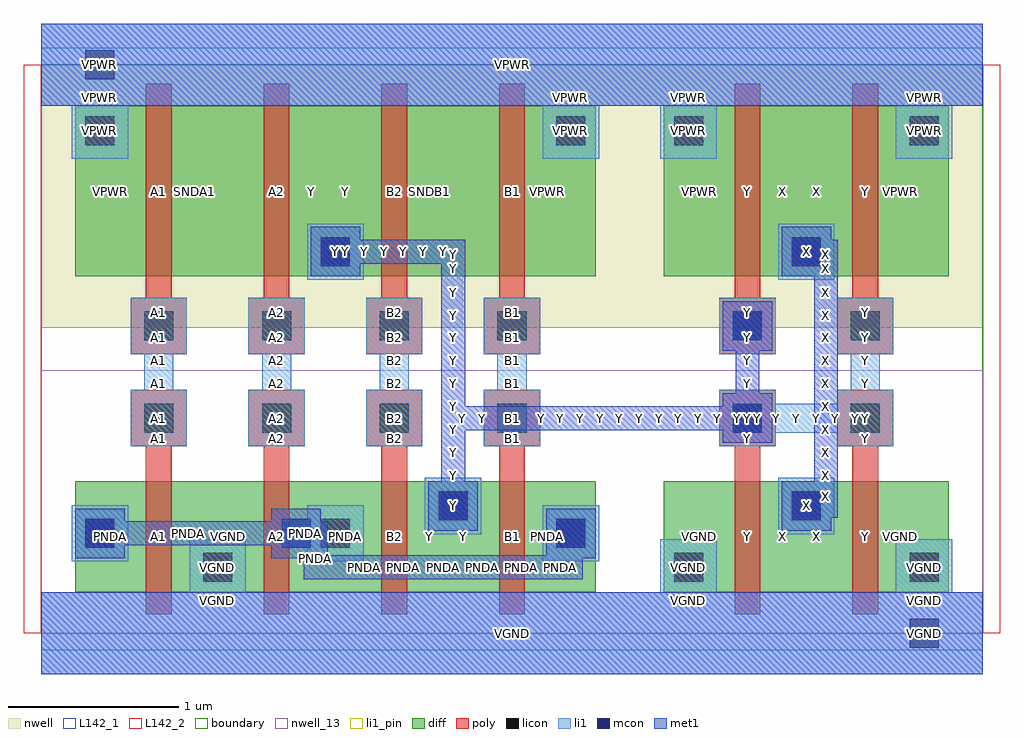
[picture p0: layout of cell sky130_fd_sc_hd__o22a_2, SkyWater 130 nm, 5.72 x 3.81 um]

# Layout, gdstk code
import gdstk
lib = gdstk.Library(unit=1e-6, precision=1e-09)
def R(c, l, rs):  # rectangles x0, y0, x1, y1
    for r in rs: c.add(gdstk.rectangle(r[:2], r[2:], *l))
def A(c, l, x, y, w, h, nx, ny, dx, dy):  # array of equal rectangles
    R(c, l, [(x+i*dx, y+j*dy, x+i*dx+w, y+j*dy+h) for i in range(nx) for j in range(ny)])
def P(c, l, *ps):  # polygons
    for p in ps: c.add(gdstk.Polygon(p, *l))
nwell_13 = (64, 13)
nwell = (64, 20)
diff = (65, 20)
poly = (66, 20)
licon = (66, 44)
li1_pin = (67, 16)
li1 = (67, 20)
mcon = (67, 44)
met1 = (68, 20)
L142_1 = (142, 1)
L142_2 = (142, 2)
boundary = (235, 4)

sky130_fd_sc_hd__o22a_2 = lib.new_cell('sky130_fd_sc_hd__o22a_2')
R(sky130_fd_sc_hd__o22a_2, nwell_13, [(0,0,5.52,1.54)])
R(sky130_fd_sc_hd__o22a_2, nwell, [(0,1.79,5.52,3.33)])
A(sky130_fd_sc_hd__o22a_2, diff, 0.615, 0.24, 0.69, 0.65, 3, 1, 0.69, 0)
A(sky130_fd_sc_hd__o22a_2, diff, 0.615, 2.09, 0.69, 1, 3, 1, 0.69, 0)
R(sky130_fd_sc_hd__o22a_2, diff, [(0.2,0.24,3.25,0.89), (0.2,0.24,0.615,0.89), (2.685,0.24,3.25,0.89), (3.65,0.24,5.32,0.89), (3.65,0.24,4.065,0.89), (4.065,0.24,4.755,0.89), (4.755,0.24,5.32,0.89), (0.2,2.09,3.25,3.09), (0.2,2.09,0.615,3.09), (2.685,2.09,3.25,3.09), (3.65,2.09,5.32,3.09), (3.65,2.09,4.065,3.09), (4.065,2.09,4.755,3.09), (4.755,2.09,5.32,3.09)])
P(sky130_fd_sc_hd__o22a_2, poly, [(1.995,0.11),(1.995,1.095),(1.905,1.095),(1.905,1.425),(2.235,1.425),(2.235,1.095),(2.145,1.095),(2.145,0.11)],
  [(1.905,1.635),(1.905,1.965),(1.995,1.965),(1.995,3.22),(2.145,3.22),(2.145,1.965),(2.235,1.965),(2.235,1.635)],
  [(4.065,0.11),(4.065,1.095),(3.975,1.095),(3.975,1.425),(4.305,1.425),(4.305,1.095),(4.215,1.095),(4.215,0.11)],
  [(4.755,0.11),(4.755,1.095),(4.665,1.095),(4.665,1.425),(4.995,1.425),(4.995,1.095),(4.905,1.095),(4.905,0.11)],
  [(3.975,1.635),(3.975,1.965),(4.065,1.965),(4.065,3.22),(4.215,3.22),(4.215,1.965),(4.305,1.965),(4.305,1.635)],
  [(4.665,1.635),(4.665,1.965),(4.755,1.965),(4.755,3.22),(4.905,3.22),(4.905,1.965),(4.995,1.965),(4.995,1.635)],
  [(1.305,0.11),(1.305,1.095),(1.215,1.095),(1.215,1.425),(1.545,1.425),(1.545,1.095),(1.455,1.095),(1.455,0.11)],
  [(1.215,1.635),(1.215,1.965),(1.305,1.965),(1.305,3.22),(1.455,3.22),(1.455,1.965),(1.545,1.965),(1.545,1.635)],
  [(0.615,0.11),(0.615,1.095),(0.525,1.095),(0.525,1.425),(0.855,1.425),(0.855,1.095),(0.765,1.095),(0.765,0.11)],
  [(0.525,1.635),(0.525,1.965),(0.615,1.965),(0.615,3.22),(0.765,3.22),(0.765,1.965),(0.855,1.965),(0.855,1.635)],
  [(2.685,0.11),(2.685,1.095),(2.595,1.095),(2.595,1.425),(2.925,1.425),(2.925,1.095),(2.835,1.095),(2.835,0.11)],
  [(2.595,1.635),(2.595,1.965),(2.685,1.965),(2.685,3.22),(2.835,3.22),(2.835,1.965),(2.925,1.965),(2.925,1.635)])
A(sky130_fd_sc_hd__o22a_2, licon, 0.26, 0.5, 0.17, 0.17, 3, 1, 1.38, 0)
A(sky130_fd_sc_hd__o22a_2, licon, 0.605, 1.175, 0.17, 0.17, 4, 2, 0.69, 0.54)
R(sky130_fd_sc_hd__o22a_2, licon, [(0.95,0.3,1.12,0.47), (3.71,0.3,3.88,0.47), (5.09,0.3,5.26,0.47), (2.33,0.66,2.5,0.83), (4.4,0.66,4.57,0.83), (4.055,1.175,4.225,1.345), (4.745,1.175,4.915,1.345), (4.055,1.715,4.225,1.885), (4.745,1.715,4.915,1.885), (1.64,2.15,1.81,2.32), (4.4,2.15,4.57,2.32), (0.26,2.86,0.43,3.03), (3.02,2.86,3.19,3.03), (3.71,2.86,3.88,3.03), (5.09,2.86,5.26,3.03)])
R(sky130_fd_sc_hd__o22a_2, li1_pin, [(0,-0.24,5.52,0.24), (4.32,0.58,4.65,0.91), (0,3.09,5.52,3.57)])
P(sky130_fd_sc_hd__o22a_2, li1_pin, [(1.905,1.095),(1.905,1.425),(1.985,1.425),(1.985,1.635),(1.905,1.635),(1.905,1.965),(2.235,1.965),(2.235,1.635),(2.155,1.635),(2.155,1.425),(2.235,1.425),(2.235,1.095)],
  [(1.215,1.095),(1.215,1.425),(1.295,1.425),(1.295,1.635),(1.215,1.635),(1.215,1.965),(1.545,1.965),(1.545,1.635),(1.465,1.635),(1.465,1.425),(1.545,1.425),(1.545,1.095)],
  [(0.525,1.095),(0.525,1.425),(0.605,1.425),(0.605,1.635),(0.525,1.635),(0.525,1.965),(0.855,1.965),(0.855,1.635),(0.775,1.635),(0.775,1.425),(0.855,1.425),(0.855,1.095)],
  [(2.595,1.095),(2.595,1.425),(2.675,1.425),(2.675,1.635),(2.595,1.635),(2.595,1.965),(2.925,1.965),(2.925,1.635),(2.845,1.635),(2.845,1.425),(2.925,1.425),(2.925,1.095)])
R(sky130_fd_sc_hd__o22a_2, li1, [(0.18,0.42,0.51,0.75), (2.94,0.42,3.27,0.75), (2.25,0.58,2.58,0.91), (4.32,0.58,4.65,0.91), (3.975,1.635,4.305,1.965), (1.56,2.07,1.89,2.4), (4.32,2.07,4.65,2.4)])
P(sky130_fd_sc_hd__o22a_2, li1, [(1.905,1.095),(1.905,1.425),(1.985,1.425),(1.985,1.635),(1.905,1.635),(1.905,1.965),(2.235,1.965),(2.235,1.635),(2.155,1.635),(2.155,1.425),(2.235,1.425),(2.235,1.095)],
  [(3.975,1.095),(3.975,1.425),(4.305,1.425),(4.305,1.345),(4.665,1.345),(4.665,1.425),(4.745,1.425),(4.745,1.635),(4.665,1.635),(4.665,1.965),(4.995,1.965),(4.995,1.635),(4.915,1.635),(4.915,1.425),(4.995,1.425),(4.995,1.095),(4.665,1.095),(4.665,1.175),(4.305,1.175),(4.305,1.095)],
  [(1.215,1.095),(1.215,1.425),(1.295,1.425),(1.295,1.635),(1.215,1.635),(1.215,1.965),(1.545,1.965),(1.545,1.635),(1.465,1.635),(1.465,1.425),(1.545,1.425),(1.545,1.095)],
  [(0.18,2.78),(0.18,3.09),(0,3.09),(0,3.57),(5.52,3.57),(5.52,3.09),(5.34,3.09),(5.34,2.78),(5.01,2.78),(5.01,3.09),(3.96,3.09),(3.96,2.78),(3.63,2.78),(3.63,3.09),(3.27,3.09),(3.27,2.78),(2.94,2.78),(2.94,3.09),(0.51,3.09),(0.51,2.78)],
  [(0.525,1.095),(0.525,1.425),(0.605,1.425),(0.605,1.635),(0.525,1.635),(0.525,1.965),(0.855,1.965),(0.855,1.635),(0.775,1.635),(0.775,1.425),(0.855,1.425),(0.855,1.095)],
  [(1.56,0.42),(1.56,0.5),(1.41,0.5),(1.41,0.67),(1.56,0.67),(1.56,0.75),(1.89,0.75),(1.89,0.42)],
  [(0,-0.24),(0,0.24),(0.87,0.24),(0.87,0.55),(1.2,0.55),(1.2,0.24),(3.63,0.24),(3.63,0.55),(3.96,0.55),(3.96,0.24),(5.01,0.24),(5.01,0.55),(5.34,0.55),(5.34,0.24),(5.52,0.24),(5.52,-0.24)],
  [(2.595,1.095),(2.595,1.425),(2.675,1.425),(2.675,1.635),(2.595,1.635),(2.595,1.965),(2.925,1.965),(2.925,1.635),(2.845,1.635),(2.845,1.425),(2.925,1.425),(2.925,1.095)])
R(sky130_fd_sc_hd__o22a_2, mcon, [(5.09,-0.085,5.26,0.085), (0.26,0.5,0.43,0.67), (1.41,0.5,1.58,0.67), (3.02,0.5,3.19,0.67), (2.33,0.66,2.5,0.83), (4.4,0.66,4.57,0.83), (4.055,1.175,4.225,1.345), (4.055,1.715,4.225,1.885), (1.64,2.15,1.81,2.32), (4.4,2.15,4.57,2.32), (0.26,3.245,0.43,3.415)])
R(sky130_fd_sc_hd__o22a_2, met1, [(0,-0.24,5.52,0.24), (0,3.09,5.52,3.57)])
P(sky130_fd_sc_hd__o22a_2, met1, [(2.27,0.6),(2.27,0.89),(2.345,0.89),(2.345,2.165),(1.87,2.165),(1.87,2.09),(1.58,2.09),(1.58,2.38),(1.87,2.38),(1.87,2.305),(2.485,2.305),(2.485,1.33),(3.995,1.33),(3.995,1.405),(4.07,1.405),(4.07,1.655),(3.995,1.655),(3.995,1.945),(4.285,1.945),(4.285,1.655),(4.21,1.655),(4.21,1.405),(4.285,1.405),(4.285,1.115),(3.995,1.115),(3.995,1.19),(2.485,1.19),(2.485,0.89),(2.56,0.89),(2.56,0.6)],
  [(1.54,0.315),(1.54,0.44),(1.35,0.44),(1.35,0.515),(0.49,0.515),(0.49,0.44),(0.2,0.44),(0.2,0.73),(0.49,0.73),(0.49,0.655),(1.35,0.655),(1.35,0.73),(1.64,0.73),(1.64,0.655),(1.68,0.655),(1.68,0.455),(2.96,0.455),(2.96,0.73),(3.25,0.73),(3.25,0.44),(3.175,0.44),(3.175,0.315)],
  [(4.34,0.6),(4.34,0.89),(4.53,0.89),(4.53,2.09),(4.34,2.09),(4.34,2.38),(4.63,2.38),(4.63,2.305),(4.67,2.305),(4.67,0.675),(4.63,0.675),(4.63,0.6)])
R(sky130_fd_sc_hd__o22a_2, L142_1, [(0,-0.1,5.52,0), (0,3.33,5.52,3.43)])
R(sky130_fd_sc_hd__o22a_2, L142_2, [(-0.1,0,0,3.33), (5.52,0,5.62,3.33)])
R(sky130_fd_sc_hd__o22a_2, boundary, [(0,0,5.52,3.33)])
sky130_fd_sc_hd__o22a_2.add(gdstk.Label('X', (4.547,0.565), layer=65, texttype=20))
sky130_fd_sc_hd__o22a_2.add(gdstk.Label('VGND', (5.037,0.565), layer=65, texttype=20))
sky130_fd_sc_hd__o22a_2.add(gdstk.Label('PNDA', (1.787,0.565), layer=65, texttype=20))
sky130_fd_sc_hd__o22a_2.add(gdstk.Label('Y', (2.277,0.565), layer=65, texttype=20))
sky130_fd_sc_hd__o22a_2.add(gdstk.Label('VGND', (1.097,0.565), layer=65, texttype=20))
sky130_fd_sc_hd__o22a_2.add(gdstk.Label('PNDA', (1.587,0.565), layer=65, texttype=20))
sky130_fd_sc_hd__o22a_2.add(gdstk.Label('VGND', (3.857,0.565), layer=65, texttype=20))
sky130_fd_sc_hd__o22a_2.add(gdstk.Label('X', (4.347,0.565), layer=65, texttype=20))
sky130_fd_sc_hd__o22a_2.add(gdstk.Label('PNDA', (0.407,0.565), layer=65, texttype=20))
sky130_fd_sc_hd__o22a_2.add(gdstk.Label('VGND', (0.897,0.565), layer=65, texttype=20))
sky130_fd_sc_hd__o22a_2.add(gdstk.Label('Y', (2.477,0.565), layer=65, texttype=20))
sky130_fd_sc_hd__o22a_2.add(gdstk.Label('PNDA', (2.967,0.565), layer=65, texttype=20))
sky130_fd_sc_hd__o22a_2.add(gdstk.Label('X', (4.547,0.565), layer=65, texttype=20))
sky130_fd_sc_hd__o22a_2.add(gdstk.Label('VGND', (5.037,0.565), layer=65, texttype=20))
sky130_fd_sc_hd__o22a_2.add(gdstk.Label('PNDA', (1.787,0.565), layer=65, texttype=20))
sky130_fd_sc_hd__o22a_2.add(gdstk.Label('Y', (2.277,0.565), layer=65, texttype=20))
sky130_fd_sc_hd__o22a_2.add(gdstk.Label('VGND', (1.097,0.565), layer=65, texttype=20))
sky130_fd_sc_hd__o22a_2.add(gdstk.Label('PNDA', (1.587,0.565), layer=65, texttype=20))
sky130_fd_sc_hd__o22a_2.add(gdstk.Label('VGND', (3.857,0.565), layer=65, texttype=20))
sky130_fd_sc_hd__o22a_2.add(gdstk.Label('X', (4.347,0.565), layer=65, texttype=20))
sky130_fd_sc_hd__o22a_2.add(gdstk.Label('PNDA', (0.407,0.565), layer=65, texttype=20))
sky130_fd_sc_hd__o22a_2.add(gdstk.Label('VGND', (0.897,0.565), layer=65, texttype=20))
sky130_fd_sc_hd__o22a_2.add(gdstk.Label('Y', (2.477,0.565), layer=65, texttype=20))
sky130_fd_sc_hd__o22a_2.add(gdstk.Label('PNDA', (2.967,0.565), layer=65, texttype=20))
sky130_fd_sc_hd__o22a_2.add(gdstk.Label('X', (4.485,0.745), layer=65, texttype=20))
sky130_fd_sc_hd__o22a_2.add(gdstk.Label('VGND', (5.175,0.385), layer=65, texttype=20))
sky130_fd_sc_hd__o22a_2.add(gdstk.Label('VGND', (1.035,0.385), layer=65, texttype=20))
sky130_fd_sc_hd__o22a_2.add(gdstk.Label('VGND', (3.795,0.385), layer=65, texttype=20))
sky130_fd_sc_hd__o22a_2.add(gdstk.Label('PNDA', (1.725,0.585), layer=65, texttype=20))
sky130_fd_sc_hd__o22a_2.add(gdstk.Label('PNDA', (0.345,0.585), layer=65, texttype=20))
sky130_fd_sc_hd__o22a_2.add(gdstk.Label('PNDA', (3.105,0.585), layer=65, texttype=20))
sky130_fd_sc_hd__o22a_2.add(gdstk.Label('Y', (2.415,0.745), layer=65, texttype=20))
sky130_fd_sc_hd__o22a_2.add(gdstk.Label('Y', (1.787,2.59), layer=65, texttype=20))
sky130_fd_sc_hd__o22a_2.add(gdstk.Label('SNDB1', (2.277,2.59), layer=65, texttype=20))
sky130_fd_sc_hd__o22a_2.add(gdstk.Label('VPWR', (0.407,2.59), layer=65, texttype=20))
sky130_fd_sc_hd__o22a_2.add(gdstk.Label('SNDA1', (0.897,2.59), layer=65, texttype=20))
sky130_fd_sc_hd__o22a_2.add(gdstk.Label('X', (4.547,2.59), layer=65, texttype=20))
sky130_fd_sc_hd__o22a_2.add(gdstk.Label('VPWR', (5.037,2.59), layer=65, texttype=20))
sky130_fd_sc_hd__o22a_2.add(gdstk.Label('SNDB1', (2.477,2.59), layer=65, texttype=20))
sky130_fd_sc_hd__o22a_2.add(gdstk.Label('VPWR', (2.967,2.59), layer=65, texttype=20))
sky130_fd_sc_hd__o22a_2.add(gdstk.Label('SNDA1', (1.097,2.59), layer=65, texttype=20))
sky130_fd_sc_hd__o22a_2.add(gdstk.Label('Y', (1.587,2.59), layer=65, texttype=20))
sky130_fd_sc_hd__o22a_2.add(gdstk.Label('VPWR', (3.857,2.59), layer=65, texttype=20))
sky130_fd_sc_hd__o22a_2.add(gdstk.Label('X', (4.347,2.59), layer=65, texttype=20))
sky130_fd_sc_hd__o22a_2.add(gdstk.Label('Y', (1.787,2.59), layer=65, texttype=20))
sky130_fd_sc_hd__o22a_2.add(gdstk.Label('SNDB1', (2.277,2.59), layer=65, texttype=20))
sky130_fd_sc_hd__o22a_2.add(gdstk.Label('VPWR', (0.407,2.59), layer=65, texttype=20))
sky130_fd_sc_hd__o22a_2.add(gdstk.Label('SNDA1', (0.897,2.59), layer=65, texttype=20))
sky130_fd_sc_hd__o22a_2.add(gdstk.Label('X', (4.547,2.59), layer=65, texttype=20))
sky130_fd_sc_hd__o22a_2.add(gdstk.Label('VPWR', (5.037,2.59), layer=65, texttype=20))
sky130_fd_sc_hd__o22a_2.add(gdstk.Label('SNDB1', (2.477,2.59), layer=65, texttype=20))
sky130_fd_sc_hd__o22a_2.add(gdstk.Label('VPWR', (2.967,2.59), layer=65, texttype=20))
sky130_fd_sc_hd__o22a_2.add(gdstk.Label('SNDA1', (1.097,2.59), layer=65, texttype=20))
sky130_fd_sc_hd__o22a_2.add(gdstk.Label('Y', (1.587,2.59), layer=65, texttype=20))
sky130_fd_sc_hd__o22a_2.add(gdstk.Label('VPWR', (3.857,2.59), layer=65, texttype=20))
sky130_fd_sc_hd__o22a_2.add(gdstk.Label('X', (4.347,2.59), layer=65, texttype=20))
sky130_fd_sc_hd__o22a_2.add(gdstk.Label('X', (4.485,2.235), layer=65, texttype=20))
sky130_fd_sc_hd__o22a_2.add(gdstk.Label('Y', (1.725,2.235), layer=65, texttype=20))
sky130_fd_sc_hd__o22a_2.add(gdstk.Label('VPWR', (0.345,2.945), layer=65, texttype=20))
sky130_fd_sc_hd__o22a_2.add(gdstk.Label('VPWR', (3.105,2.945), layer=65, texttype=20))
sky130_fd_sc_hd__o22a_2.add(gdstk.Label('VPWR', (5.175,2.945), layer=65, texttype=20))
sky130_fd_sc_hd__o22a_2.add(gdstk.Label('VPWR', (3.795,2.945), layer=65, texttype=20))
sky130_fd_sc_hd__o22a_2.add(gdstk.Label('Y', (4.83,0.565), layer=66, texttype=20))
sky130_fd_sc_hd__o22a_2.add(gdstk.Label('B2', (2.07,2.59), layer=66, texttype=20))
sky130_fd_sc_hd__o22a_2.add(gdstk.Label('B2', (2.07,0.565), layer=66, texttype=20))
sky130_fd_sc_hd__o22a_2.add(gdstk.Label('A2', (1.38,0.565), layer=66, texttype=20))
sky130_fd_sc_hd__o22a_2.add(gdstk.Label('A1', (0.69,2.59), layer=66, texttype=20))
sky130_fd_sc_hd__o22a_2.add(gdstk.Label('Y', (4.14,0.565), layer=66, texttype=20))
sky130_fd_sc_hd__o22a_2.add(gdstk.Label('A1', (0.69,0.565), layer=66, texttype=20))
sky130_fd_sc_hd__o22a_2.add(gdstk.Label('Y', (4.83,2.59), layer=66, texttype=20))
sky130_fd_sc_hd__o22a_2.add(gdstk.Label('B1', (2.76,2.59), layer=66, texttype=20))
sky130_fd_sc_hd__o22a_2.add(gdstk.Label('A2', (1.38,2.59), layer=66, texttype=20))
sky130_fd_sc_hd__o22a_2.add(gdstk.Label('B1', (2.76,0.565), layer=66, texttype=20))
sky130_fd_sc_hd__o22a_2.add(gdstk.Label('Y', (4.14,2.59), layer=66, texttype=20))
sky130_fd_sc_hd__o22a_2.add(gdstk.Label('Y', (4.83,0.565), layer=66, texttype=20))
sky130_fd_sc_hd__o22a_2.add(gdstk.Label('B2', (2.07,2.59), layer=66, texttype=20))
sky130_fd_sc_hd__o22a_2.add(gdstk.Label('B2', (2.07,0.565), layer=66, texttype=20))
sky130_fd_sc_hd__o22a_2.add(gdstk.Label('A2', (1.38,0.565), layer=66, texttype=20))
sky130_fd_sc_hd__o22a_2.add(gdstk.Label('A1', (0.69,2.59), layer=66, texttype=20))
sky130_fd_sc_hd__o22a_2.add(gdstk.Label('Y', (4.14,0.565), layer=66, texttype=20))
sky130_fd_sc_hd__o22a_2.add(gdstk.Label('A1', (0.69,0.565), layer=66, texttype=20))
sky130_fd_sc_hd__o22a_2.add(gdstk.Label('Y', (4.83,2.59), layer=66, texttype=20))
sky130_fd_sc_hd__o22a_2.add(gdstk.Label('B1', (2.76,2.59), layer=66, texttype=20))
sky130_fd_sc_hd__o22a_2.add(gdstk.Label('A2', (1.38,2.59), layer=66, texttype=20))
sky130_fd_sc_hd__o22a_2.add(gdstk.Label('B1', (2.76,0.565), layer=66, texttype=20))
sky130_fd_sc_hd__o22a_2.add(gdstk.Label('Y', (4.14,2.59), layer=66, texttype=20))
sky130_fd_sc_hd__o22a_2.add(gdstk.Label('Y', (4.14,1.14), layer=66, texttype=20))
sky130_fd_sc_hd__o22a_2.add(gdstk.Label('Y', (4.14,1.88), layer=66, texttype=20))
sky130_fd_sc_hd__o22a_2.add(gdstk.Label('Y', (4.83,1.14), layer=66, texttype=20))
sky130_fd_sc_hd__o22a_2.add(gdstk.Label('Y', (4.83,1.88), layer=66, texttype=20))
sky130_fd_sc_hd__o22a_2.add(gdstk.Label('B2', (2.07,1.88), layer=66, texttype=20))
sky130_fd_sc_hd__o22a_2.add(gdstk.Label('B2', (2.07,1.14), layer=66, texttype=20))
sky130_fd_sc_hd__o22a_2.add(gdstk.Label('A2', (1.38,1.14), layer=66, texttype=20))
sky130_fd_sc_hd__o22a_2.add(gdstk.Label('A2', (1.38,1.88), layer=66, texttype=20))
sky130_fd_sc_hd__o22a_2.add(gdstk.Label('A1', (0.69,1.88), layer=66, texttype=20))
sky130_fd_sc_hd__o22a_2.add(gdstk.Label('A1', (0.69,1.14), layer=66, texttype=20))
sky130_fd_sc_hd__o22a_2.add(gdstk.Label('B1', (2.76,1.88), layer=66, texttype=20))
sky130_fd_sc_hd__o22a_2.add(gdstk.Label('B1', (2.76,1.14), layer=66, texttype=20))
sky130_fd_sc_hd__o22a_2.add(gdstk.Label('Y', (4.14,1.26), layer=66, texttype=20))
sky130_fd_sc_hd__o22a_2.add(gdstk.Label('Y', (4.14,1.8), layer=66, texttype=20))
sky130_fd_sc_hd__o22a_2.add(gdstk.Label('Y', (4.83,1.26), layer=66, texttype=20))
sky130_fd_sc_hd__o22a_2.add(gdstk.Label('Y', (4.83,1.8), layer=66, texttype=20))
sky130_fd_sc_hd__o22a_2.add(gdstk.Label('B2', (2.07,1.8), layer=66, texttype=20))
sky130_fd_sc_hd__o22a_2.add(gdstk.Label('B2', (2.07,1.26), layer=66, texttype=20))
sky130_fd_sc_hd__o22a_2.add(gdstk.Label('A2', (1.38,1.26), layer=66, texttype=20))
sky130_fd_sc_hd__o22a_2.add(gdstk.Label('A2', (1.38,1.8), layer=66, texttype=20))
sky130_fd_sc_hd__o22a_2.add(gdstk.Label('A1', (0.69,1.8), layer=66, texttype=20))
sky130_fd_sc_hd__o22a_2.add(gdstk.Label('A1', (0.69,1.26), layer=66, texttype=20))
sky130_fd_sc_hd__o22a_2.add(gdstk.Label('B1', (2.76,1.8), layer=66, texttype=20))
sky130_fd_sc_hd__o22a_2.add(gdstk.Label('B1', (2.76,1.26), layer=66, texttype=20))
sky130_fd_sc_hd__o22a_2.add(gdstk.Label('X', (4.485,2.235), layer=66, texttype=44))
sky130_fd_sc_hd__o22a_2.add(gdstk.Label('Y', (1.725,2.235), layer=66, texttype=44))
sky130_fd_sc_hd__o22a_2.add(gdstk.Label('VPWR', (0.345,2.945), layer=66, texttype=44))
sky130_fd_sc_hd__o22a_2.add(gdstk.Label('VPWR', (3.105,2.945), layer=66, texttype=44))
sky130_fd_sc_hd__o22a_2.add(gdstk.Label('VPWR', (5.175,2.945), layer=66, texttype=44))
sky130_fd_sc_hd__o22a_2.add(gdstk.Label('VPWR', (3.795,2.945), layer=66, texttype=44))
sky130_fd_sc_hd__o22a_2.add(gdstk.Label('X', (4.485,0.745), layer=66, texttype=44))
sky130_fd_sc_hd__o22a_2.add(gdstk.Label('VGND', (5.175,0.385), layer=66, texttype=44))
sky130_fd_sc_hd__o22a_2.add(gdstk.Label('VGND', (1.035,0.385), layer=66, texttype=44))
sky130_fd_sc_hd__o22a_2.add(gdstk.Label('VGND', (3.795,0.385), layer=66, texttype=44))
sky130_fd_sc_hd__o22a_2.add(gdstk.Label('PNDA', (1.725,0.585), layer=66, texttype=44))
sky130_fd_sc_hd__o22a_2.add(gdstk.Label('PNDA', (0.345,0.585), layer=66, texttype=44))
sky130_fd_sc_hd__o22a_2.add(gdstk.Label('PNDA', (3.105,0.585), layer=66, texttype=44))
sky130_fd_sc_hd__o22a_2.add(gdstk.Label('Y', (2.415,0.745), layer=66, texttype=44))
sky130_fd_sc_hd__o22a_2.add(gdstk.Label('Y', (4.14,1.26), layer=66, texttype=44))
sky130_fd_sc_hd__o22a_2.add(gdstk.Label('Y', (4.14,1.8), layer=66, texttype=44))
sky130_fd_sc_hd__o22a_2.add(gdstk.Label('Y', (4.83,1.26), layer=66, texttype=44))
sky130_fd_sc_hd__o22a_2.add(gdstk.Label('Y', (4.83,1.8), layer=66, texttype=44))
sky130_fd_sc_hd__o22a_2.add(gdstk.Label('B2', (2.07,1.8), layer=66, texttype=44))
sky130_fd_sc_hd__o22a_2.add(gdstk.Label('B2', (2.07,1.26), layer=66, texttype=44))
sky130_fd_sc_hd__o22a_2.add(gdstk.Label('A2', (1.38,1.26), layer=66, texttype=44))
sky130_fd_sc_hd__o22a_2.add(gdstk.Label('A2', (1.38,1.8), layer=66, texttype=44))
sky130_fd_sc_hd__o22a_2.add(gdstk.Label('A1', (0.69,1.8), layer=66, texttype=44))
sky130_fd_sc_hd__o22a_2.add(gdstk.Label('A1', (0.69,1.26), layer=66, texttype=44))
sky130_fd_sc_hd__o22a_2.add(gdstk.Label('B1', (2.76,1.8), layer=66, texttype=44))
sky130_fd_sc_hd__o22a_2.add(gdstk.Label('B1', (2.76,1.26), layer=66, texttype=44))
sky130_fd_sc_hd__o22a_2.add(gdstk.Label('VPWR', (2.76,3.33), layer=67, texttype=20))
sky130_fd_sc_hd__o22a_2.add(gdstk.Label('VGND', (2.76,0), layer=67, texttype=20))
sky130_fd_sc_hd__o22a_2.add(gdstk.Label('VPWR', (2.76,3.33), layer=67, texttype=20))
sky130_fd_sc_hd__o22a_2.add(gdstk.Label('VGND', (2.76,0), layer=67, texttype=20))
sky130_fd_sc_hd__o22a_2.add(gdstk.Label('VGND', (5.175,0.192), layer=67, texttype=20))
sky130_fd_sc_hd__o22a_2.add(gdstk.Label('VGND', (1.035,0.192), layer=67, texttype=20))
sky130_fd_sc_hd__o22a_2.add(gdstk.Label('VGND', (3.795,0.192), layer=67, texttype=20))
sky130_fd_sc_hd__o22a_2.add(gdstk.Label('PNDA', (1.667,0.585), layer=67, texttype=20))
sky130_fd_sc_hd__o22a_2.add(gdstk.Label('PNDA', (1.552,0.585), layer=67, texttype=20))
sky130_fd_sc_hd__o22a_2.add(gdstk.Label('Y', (4.197,1.26), layer=67, texttype=20))
sky130_fd_sc_hd__o22a_2.add(gdstk.Label('Y', (4.312,1.26), layer=67, texttype=20))
sky130_fd_sc_hd__o22a_2.add(gdstk.Label('Y', (4.427,1.26), layer=67, texttype=20))
sky130_fd_sc_hd__o22a_2.add(gdstk.Label('Y', (4.542,1.26), layer=67, texttype=20))
sky130_fd_sc_hd__o22a_2.add(gdstk.Label('Y', (4.657,1.26), layer=67, texttype=20))
sky130_fd_sc_hd__o22a_2.add(gdstk.Label('Y', (4.772,1.26), layer=67, texttype=20))
sky130_fd_sc_hd__o22a_2.add(gdstk.Label('Y', (4.83,1.327), layer=67, texttype=20))
sky130_fd_sc_hd__o22a_2.add(gdstk.Label('Y', (4.83,1.462), layer=67, texttype=20))
sky130_fd_sc_hd__o22a_2.add(gdstk.Label('Y', (4.83,1.597), layer=67, texttype=20))
sky130_fd_sc_hd__o22a_2.add(gdstk.Label('Y', (4.83,1.732), layer=67, texttype=20))
sky130_fd_sc_hd__o22a_2.add(gdstk.Label('VPWR', (0.345,3.137), layer=67, texttype=20))
sky130_fd_sc_hd__o22a_2.add(gdstk.Label('VPWR', (3.105,3.137), layer=67, texttype=20))
sky130_fd_sc_hd__o22a_2.add(gdstk.Label('VPWR', (5.175,3.137), layer=67, texttype=20))
sky130_fd_sc_hd__o22a_2.add(gdstk.Label('VPWR', (3.795,3.137), layer=67, texttype=20))
sky130_fd_sc_hd__o22a_2.add(gdstk.Label('B2', (2.07,1.732), layer=67, texttype=20))
sky130_fd_sc_hd__o22a_2.add(gdstk.Label('B2', (2.07,1.597), layer=67, texttype=20))
sky130_fd_sc_hd__o22a_2.add(gdstk.Label('B2', (2.07,1.462), layer=67, texttype=20))
sky130_fd_sc_hd__o22a_2.add(gdstk.Label('B2', (2.07,1.327), layer=67, texttype=20))
sky130_fd_sc_hd__o22a_2.add(gdstk.Label('A2', (1.38,1.327), layer=67, texttype=20))
sky130_fd_sc_hd__o22a_2.add(gdstk.Label('A2', (1.38,1.462), layer=67, texttype=20))
sky130_fd_sc_hd__o22a_2.add(gdstk.Label('A2', (1.38,1.597), layer=67, texttype=20))
sky130_fd_sc_hd__o22a_2.add(gdstk.Label('A2', (1.38,1.732), layer=67, texttype=20))
sky130_fd_sc_hd__o22a_2.add(gdstk.Label('A1', (0.69,1.732), layer=67, texttype=20))
sky130_fd_sc_hd__o22a_2.add(gdstk.Label('A1', (0.69,1.597), layer=67, texttype=20))
sky130_fd_sc_hd__o22a_2.add(gdstk.Label('A1', (0.69,1.462), layer=67, texttype=20))
sky130_fd_sc_hd__o22a_2.add(gdstk.Label('A1', (0.69,1.327), layer=67, texttype=20))
sky130_fd_sc_hd__o22a_2.add(gdstk.Label('B1', (2.76,1.732), layer=67, texttype=20))
sky130_fd_sc_hd__o22a_2.add(gdstk.Label('B1', (2.76,1.597), layer=67, texttype=20))
sky130_fd_sc_hd__o22a_2.add(gdstk.Label('B1', (2.76,1.462), layer=67, texttype=20))
sky130_fd_sc_hd__o22a_2.add(gdstk.Label('B1', (2.76,1.327), layer=67, texttype=20))
sky130_fd_sc_hd__o22a_2.add(gdstk.Label('X', (4.485,0.745), layer=67, texttype=20))
sky130_fd_sc_hd__o22a_2.add(gdstk.Label('X', (4.485,0.745), layer=67, texttype=20))
sky130_fd_sc_hd__o22a_2.add(gdstk.Label('X', (4.485,2.235), layer=67, texttype=20))
sky130_fd_sc_hd__o22a_2.add(gdstk.Label('X', (4.485,2.235), layer=67, texttype=20))
sky130_fd_sc_hd__o22a_2.add(gdstk.Label('VGND', (5.175,0.385), layer=67, texttype=20))
sky130_fd_sc_hd__o22a_2.add(gdstk.Label('VGND', (5.175,0), layer=67, texttype=20))
sky130_fd_sc_hd__o22a_2.add(gdstk.Label('VGND', (1.035,0.385), layer=67, texttype=20))
sky130_fd_sc_hd__o22a_2.add(gdstk.Label('VGND', (3.795,0.385), layer=67, texttype=20))
sky130_fd_sc_hd__o22a_2.add(gdstk.Label('PNDA', (1.725,0.585), layer=67, texttype=20))
sky130_fd_sc_hd__o22a_2.add(gdstk.Label('PNDA', (1.495,0.585), layer=67, texttype=20))
sky130_fd_sc_hd__o22a_2.add(gdstk.Label('PNDA', (0.345,0.585), layer=67, texttype=20))
sky130_fd_sc_hd__o22a_2.add(gdstk.Label('PNDA', (0.345,0.585), layer=67, texttype=20))
sky130_fd_sc_hd__o22a_2.add(gdstk.Label('PNDA', (3.105,0.585), layer=67, texttype=20))
sky130_fd_sc_hd__o22a_2.add(gdstk.Label('PNDA', (3.105,0.585), layer=67, texttype=20))
sky130_fd_sc_hd__o22a_2.add(gdstk.Label('Y', (2.415,0.745), layer=67, texttype=20))
sky130_fd_sc_hd__o22a_2.add(gdstk.Label('Y', (2.415,0.745), layer=67, texttype=20))
sky130_fd_sc_hd__o22a_2.add(gdstk.Label('Y', (1.725,2.235), layer=67, texttype=20))
sky130_fd_sc_hd__o22a_2.add(gdstk.Label('Y', (1.725,2.235), layer=67, texttype=20))
sky130_fd_sc_hd__o22a_2.add(gdstk.Label('Y', (4.14,1.26), layer=67, texttype=20))
sky130_fd_sc_hd__o22a_2.add(gdstk.Label('Y', (4.14,1.26), layer=67, texttype=20))
sky130_fd_sc_hd__o22a_2.add(gdstk.Label('Y', (4.14,1.8), layer=67, texttype=20))
sky130_fd_sc_hd__o22a_2.add(gdstk.Label('Y', (4.14,1.8), layer=67, texttype=20))
sky130_fd_sc_hd__o22a_2.add(gdstk.Label('Y', (4.83,1.26), layer=67, texttype=20))
sky130_fd_sc_hd__o22a_2.add(gdstk.Label('Y', (4.83,1.8), layer=67, texttype=20))
sky130_fd_sc_hd__o22a_2.add(gdstk.Label('VPWR', (0.345,2.945), layer=67, texttype=20))
sky130_fd_sc_hd__o22a_2.add(gdstk.Label('VPWR', (0.345,3.33), layer=67, texttype=20))
sky130_fd_sc_hd__o22a_2.add(gdstk.Label('VPWR', (3.105,2.945), layer=67, texttype=20))
sky130_fd_sc_hd__o22a_2.add(gdstk.Label('VPWR', (5.175,2.945), layer=67, texttype=20))
sky130_fd_sc_hd__o22a_2.add(gdstk.Label('VPWR', (3.795,2.945), layer=67, texttype=20))
sky130_fd_sc_hd__o22a_2.add(gdstk.Label('B2', (2.07,1.8), layer=67, texttype=20))
sky130_fd_sc_hd__o22a_2.add(gdstk.Label('B2', (2.07,1.26), layer=67, texttype=20))
sky130_fd_sc_hd__o22a_2.add(gdstk.Label('A2', (1.38,1.26), layer=67, texttype=20))
sky130_fd_sc_hd__o22a_2.add(gdstk.Label('A2', (1.38,1.8), layer=67, texttype=20))
sky130_fd_sc_hd__o22a_2.add(gdstk.Label('A1', (0.69,1.8), layer=67, texttype=20))
sky130_fd_sc_hd__o22a_2.add(gdstk.Label('A1', (0.69,1.26), layer=67, texttype=20))
sky130_fd_sc_hd__o22a_2.add(gdstk.Label('B1', (2.76,1.8), layer=67, texttype=20))
sky130_fd_sc_hd__o22a_2.add(gdstk.Label('B1', (2.76,1.26), layer=67, texttype=20))
sky130_fd_sc_hd__o22a_2.add(gdstk.Label('X', (4.485,0.745), layer=67, texttype=5))
sky130_fd_sc_hd__o22a_2.add(gdstk.Label('B2', (2.07,1.26), layer=67, texttype=5))
sky130_fd_sc_hd__o22a_2.add(gdstk.Label('A2', (1.38,1.26), layer=67, texttype=5))
sky130_fd_sc_hd__o22a_2.add(gdstk.Label('A1', (0.69,1.26), layer=67, texttype=5))
sky130_fd_sc_hd__o22a_2.add(gdstk.Label('B1', (2.76,1.26), layer=67, texttype=5))
sky130_fd_sc_hd__o22a_2.add(gdstk.Label('VGND', (2.76,0), layer=67, texttype=5))
sky130_fd_sc_hd__o22a_2.add(gdstk.Label('VPWR', (2.76,3.33), layer=67, texttype=5))
sky130_fd_sc_hd__o22a_2.add(gdstk.Label('X', (4.485,0.745), layer=67, texttype=44))
sky130_fd_sc_hd__o22a_2.add(gdstk.Label('X', (4.485,2.235), layer=67, texttype=44))
sky130_fd_sc_hd__o22a_2.add(gdstk.Label('VGND', (5.175,0), layer=67, texttype=44))
sky130_fd_sc_hd__o22a_2.add(gdstk.Label('PNDA', (1.495,0.585), layer=67, texttype=44))
sky130_fd_sc_hd__o22a_2.add(gdstk.Label('PNDA', (0.345,0.585), layer=67, texttype=44))
sky130_fd_sc_hd__o22a_2.add(gdstk.Label('PNDA', (3.105,0.585), layer=67, texttype=44))
sky130_fd_sc_hd__o22a_2.add(gdstk.Label('Y', (2.415,0.745), layer=67, texttype=44))
sky130_fd_sc_hd__o22a_2.add(gdstk.Label('Y', (1.725,2.235), layer=67, texttype=44))
sky130_fd_sc_hd__o22a_2.add(gdstk.Label('Y', (4.14,1.26), layer=67, texttype=44))
sky130_fd_sc_hd__o22a_2.add(gdstk.Label('Y', (4.14,1.8), layer=67, texttype=44))
sky130_fd_sc_hd__o22a_2.add(gdstk.Label('VPWR', (0.345,3.33), layer=67, texttype=44))
sky130_fd_sc_hd__o22a_2.add(gdstk.Label('VPWR', (2.76,3.33), layer=68, texttype=20))
sky130_fd_sc_hd__o22a_2.add(gdstk.Label('VGND', (2.76,0), layer=68, texttype=20))
sky130_fd_sc_hd__o22a_2.add(gdstk.Label('VPWR', (2.76,3.33), layer=68, texttype=20))
sky130_fd_sc_hd__o22a_2.add(gdstk.Label('VGND', (2.76,0), layer=68, texttype=20))
sky130_fd_sc_hd__o22a_2.add(gdstk.Label('X', (4.542,0.745), layer=68, texttype=20))
sky130_fd_sc_hd__o22a_2.add(gdstk.Label('X', (4.6,0.8), layer=68, texttype=20))
sky130_fd_sc_hd__o22a_2.add(gdstk.Label('X', (4.6,0.922), layer=68, texttype=20))
sky130_fd_sc_hd__o22a_2.add(gdstk.Label('X', (4.6,1.057), layer=68, texttype=20))
sky130_fd_sc_hd__o22a_2.add(gdstk.Label('X', (4.6,1.192), layer=68, texttype=20))
sky130_fd_sc_hd__o22a_2.add(gdstk.Label('X', (4.6,1.327), layer=68, texttype=20))
sky130_fd_sc_hd__o22a_2.add(gdstk.Label('X', (4.6,1.462), layer=68, texttype=20))
sky130_fd_sc_hd__o22a_2.add(gdstk.Label('X', (4.6,1.597), layer=68, texttype=20))
sky130_fd_sc_hd__o22a_2.add(gdstk.Label('X', (4.6,1.732), layer=68, texttype=20))
sky130_fd_sc_hd__o22a_2.add(gdstk.Label('X', (4.6,1.862), layer=68, texttype=20))
sky130_fd_sc_hd__o22a_2.add(gdstk.Label('X', (4.6,1.997), layer=68, texttype=20))
sky130_fd_sc_hd__o22a_2.add(gdstk.Label('X', (4.6,2.137), layer=68, texttype=20))
sky130_fd_sc_hd__o22a_2.add(gdstk.Label('X', (4.6,2.22), layer=68, texttype=20))
sky130_fd_sc_hd__o22a_2.add(gdstk.Label('X', (4.542,2.235), layer=68, texttype=20))
sky130_fd_sc_hd__o22a_2.add(gdstk.Label('PNDA', (1.437,0.585), layer=68, texttype=20))
sky130_fd_sc_hd__o22a_2.add(gdstk.Label('PNDA', (1.552,0.585), layer=68, texttype=20))
sky130_fd_sc_hd__o22a_2.add(gdstk.Label('PNDA', (1.322,0.585), layer=68, texttype=20))
sky130_fd_sc_hd__o22a_2.add(gdstk.Label('PNDA', (1.207,0.585), layer=68, texttype=20))
sky130_fd_sc_hd__o22a_2.add(gdstk.Label('PNDA', (1.092,0.585), layer=68, texttype=20))
sky130_fd_sc_hd__o22a_2.add(gdstk.Label('PNDA', (0.977,0.585), layer=68, texttype=20))
sky130_fd_sc_hd__o22a_2.add(gdstk.Label('PNDA', (0.862,0.585), layer=68, texttype=20))
sky130_fd_sc_hd__o22a_2.add(gdstk.Label('PNDA', (0.747,0.585), layer=68, texttype=20))
sky130_fd_sc_hd__o22a_2.add(gdstk.Label('PNDA', (0.632,0.585), layer=68, texttype=20))
sky130_fd_sc_hd__o22a_2.add(gdstk.Label('PNDA', (0.517,0.585), layer=68, texttype=20))
sky130_fd_sc_hd__o22a_2.add(gdstk.Label('PNDA', (0.402,0.585), layer=68, texttype=20))
sky130_fd_sc_hd__o22a_2.add(gdstk.Label('PNDA', (1.61,0.517), layer=68, texttype=20))
sky130_fd_sc_hd__o22a_2.add(gdstk.Label('PNDA', (1.61,0.437), layer=68, texttype=20))
sky130_fd_sc_hd__o22a_2.add(gdstk.Label('PNDA', (1.61,0.405), layer=68, texttype=20))
sky130_fd_sc_hd__o22a_2.add(gdstk.Label('PNDA', (1.667,0.385), layer=68, texttype=20))
sky130_fd_sc_hd__o22a_2.add(gdstk.Label('PNDA', (1.782,0.385), layer=68, texttype=20))
sky130_fd_sc_hd__o22a_2.add(gdstk.Label('PNDA', (1.897,0.385), layer=68, texttype=20))
sky130_fd_sc_hd__o22a_2.add(gdstk.Label('PNDA', (2.012,0.385), layer=68, texttype=20))
sky130_fd_sc_hd__o22a_2.add(gdstk.Label('PNDA', (2.127,0.385), layer=68, texttype=20))
sky130_fd_sc_hd__o22a_2.add(gdstk.Label('PNDA', (2.242,0.385), layer=68, texttype=20))
sky130_fd_sc_hd__o22a_2.add(gdstk.Label('PNDA', (2.357,0.385), layer=68, texttype=20))
sky130_fd_sc_hd__o22a_2.add(gdstk.Label('PNDA', (2.472,0.385), layer=68, texttype=20))
sky130_fd_sc_hd__o22a_2.add(gdstk.Label('PNDA', (2.587,0.385), layer=68, texttype=20))
sky130_fd_sc_hd__o22a_2.add(gdstk.Label('PNDA', (2.702,0.385), layer=68, texttype=20))
sky130_fd_sc_hd__o22a_2.add(gdstk.Label('PNDA', (2.817,0.385), layer=68, texttype=20))
sky130_fd_sc_hd__o22a_2.add(gdstk.Label('PNDA', (2.932,0.385), layer=68, texttype=20))
sky130_fd_sc_hd__o22a_2.add(gdstk.Label('PNDA', (3.047,0.385), layer=68, texttype=20))
sky130_fd_sc_hd__o22a_2.add(gdstk.Label('PNDA', (3.105,0.405), layer=68, texttype=20))
sky130_fd_sc_hd__o22a_2.add(gdstk.Label('PNDA', (3.105,0.437), layer=68, texttype=20))
sky130_fd_sc_hd__o22a_2.add(gdstk.Label('PNDA', (3.105,0.517), layer=68, texttype=20))
sky130_fd_sc_hd__o22a_2.add(gdstk.Label('Y', (2.415,0.8), layer=68, texttype=20))
sky130_fd_sc_hd__o22a_2.add(gdstk.Label('Y', (2.415,0.922), layer=68, texttype=20))
sky130_fd_sc_hd__o22a_2.add(gdstk.Label('Y', (2.415,1.057), layer=68, texttype=20))
sky130_fd_sc_hd__o22a_2.add(gdstk.Label('Y', (2.415,1.192), layer=68, texttype=20))
sky130_fd_sc_hd__o22a_2.add(gdstk.Label('Y', (2.415,1.327), layer=68, texttype=20))
sky130_fd_sc_hd__o22a_2.add(gdstk.Label('Y', (2.472,1.26), layer=68, texttype=20))
sky130_fd_sc_hd__o22a_2.add(gdstk.Label('Y', (2.415,1.462), layer=68, texttype=20))
sky130_fd_sc_hd__o22a_2.add(gdstk.Label('Y', (2.415,1.597), layer=68, texttype=20))
sky130_fd_sc_hd__o22a_2.add(gdstk.Label('Y', (2.415,1.732), layer=68, texttype=20))
sky130_fd_sc_hd__o22a_2.add(gdstk.Label('Y', (2.415,1.862), layer=68, texttype=20))
sky130_fd_sc_hd__o22a_2.add(gdstk.Label('Y', (2.415,1.997), layer=68, texttype=20))
sky130_fd_sc_hd__o22a_2.add(gdstk.Label('Y', (2.415,2.137), layer=68, texttype=20))
sky130_fd_sc_hd__o22a_2.add(gdstk.Label('Y', (2.415,2.22), layer=68, texttype=20))
sky130_fd_sc_hd__o22a_2.add(gdstk.Label('Y', (2.357,2.235), layer=68, texttype=20))
sky130_fd_sc_hd__o22a_2.add(gdstk.Label('Y', (2.242,2.235), layer=68, texttype=20))
sky130_fd_sc_hd__o22a_2.add(gdstk.Label('Y', (2.127,2.235), layer=68, texttype=20))
sky130_fd_sc_hd__o22a_2.add(gdstk.Label('Y', (2.012,2.235), layer=68, texttype=20))
sky130_fd_sc_hd__o22a_2.add(gdstk.Label('Y', (1.897,2.235), layer=68, texttype=20))
sky130_fd_sc_hd__o22a_2.add(gdstk.Label('Y', (1.782,2.235), layer=68, texttype=20))
sky130_fd_sc_hd__o22a_2.add(gdstk.Label('Y', (2.587,1.26), layer=68, texttype=20))
sky130_fd_sc_hd__o22a_2.add(gdstk.Label('Y', (2.702,1.26), layer=68, texttype=20))
sky130_fd_sc_hd__o22a_2.add(gdstk.Label('Y', (2.817,1.26), layer=68, texttype=20))
sky130_fd_sc_hd__o22a_2.add(gdstk.Label('Y', (2.932,1.26), layer=68, texttype=20))
sky130_fd_sc_hd__o22a_2.add(gdstk.Label('Y', (3.047,1.26), layer=68, texttype=20))
sky130_fd_sc_hd__o22a_2.add(gdstk.Label('Y', (3.162,1.26), layer=68, texttype=20))
sky130_fd_sc_hd__o22a_2.add(gdstk.Label('Y', (3.277,1.26), layer=68, texttype=20))
sky130_fd_sc_hd__o22a_2.add(gdstk.Label('Y', (3.392,1.26), layer=68, texttype=20))
sky130_fd_sc_hd__o22a_2.add(gdstk.Label('Y', (3.507,1.26), layer=68, texttype=20))
sky130_fd_sc_hd__o22a_2.add(gdstk.Label('Y', (3.622,1.26), layer=68, texttype=20))
sky130_fd_sc_hd__o22a_2.add(gdstk.Label('Y', (3.737,1.26), layer=68, texttype=20))
sky130_fd_sc_hd__o22a_2.add(gdstk.Label('Y', (3.852,1.26), layer=68, texttype=20))
sky130_fd_sc_hd__o22a_2.add(gdstk.Label('Y', (3.967,1.26), layer=68, texttype=20))
sky130_fd_sc_hd__o22a_2.add(gdstk.Label('Y', (4.082,1.26), layer=68, texttype=20))
sky130_fd_sc_hd__o22a_2.add(gdstk.Label('Y', (4.14,1.327), layer=68, texttype=20))
sky130_fd_sc_hd__o22a_2.add(gdstk.Label('Y', (4.14,1.462), layer=68, texttype=20))
sky130_fd_sc_hd__o22a_2.add(gdstk.Label('Y', (4.14,1.597), layer=68, texttype=20))
sky130_fd_sc_hd__o22a_2.add(gdstk.Label('Y', (4.14,1.732), layer=68, texttype=20))
sky130_fd_sc_hd__o22a_2.add(gdstk.Label('X', (4.485,0.745), layer=68, texttype=20))
sky130_fd_sc_hd__o22a_2.add(gdstk.Label('X', (4.485,2.235), layer=68, texttype=20))
sky130_fd_sc_hd__o22a_2.add(gdstk.Label('VGND', (5.175,0), layer=68, texttype=20))
sky130_fd_sc_hd__o22a_2.add(gdstk.Label('PNDA', (1.495,0.585), layer=68, texttype=20))
sky130_fd_sc_hd__o22a_2.add(gdstk.Label('PNDA', (0.345,0.585), layer=68, texttype=20))
sky130_fd_sc_hd__o22a_2.add(gdstk.Label('PNDA', (3.105,0.585), layer=68, texttype=20))
sky130_fd_sc_hd__o22a_2.add(gdstk.Label('Y', (2.415,0.745), layer=68, texttype=20))
sky130_fd_sc_hd__o22a_2.add(gdstk.Label('Y', (1.725,2.235), layer=68, texttype=20))
sky130_fd_sc_hd__o22a_2.add(gdstk.Label('Y', (4.14,1.26), layer=68, texttype=20))
sky130_fd_sc_hd__o22a_2.add(gdstk.Label('Y', (4.14,1.8), layer=68, texttype=20))
sky130_fd_sc_hd__o22a_2.add(gdstk.Label('VPWR', (0.345,3.33), layer=68, texttype=20))
sky130_fd_sc_hd__o22a_2.add(gdstk.Label('VGND', (2.76,0), layer=68, texttype=5))
sky130_fd_sc_hd__o22a_2.add(gdstk.Label('VPWR', (2.76,3.33), layer=68, texttype=5))

lib.write_gds('sky130_fd_sc_hd__o22a_2.gds')
